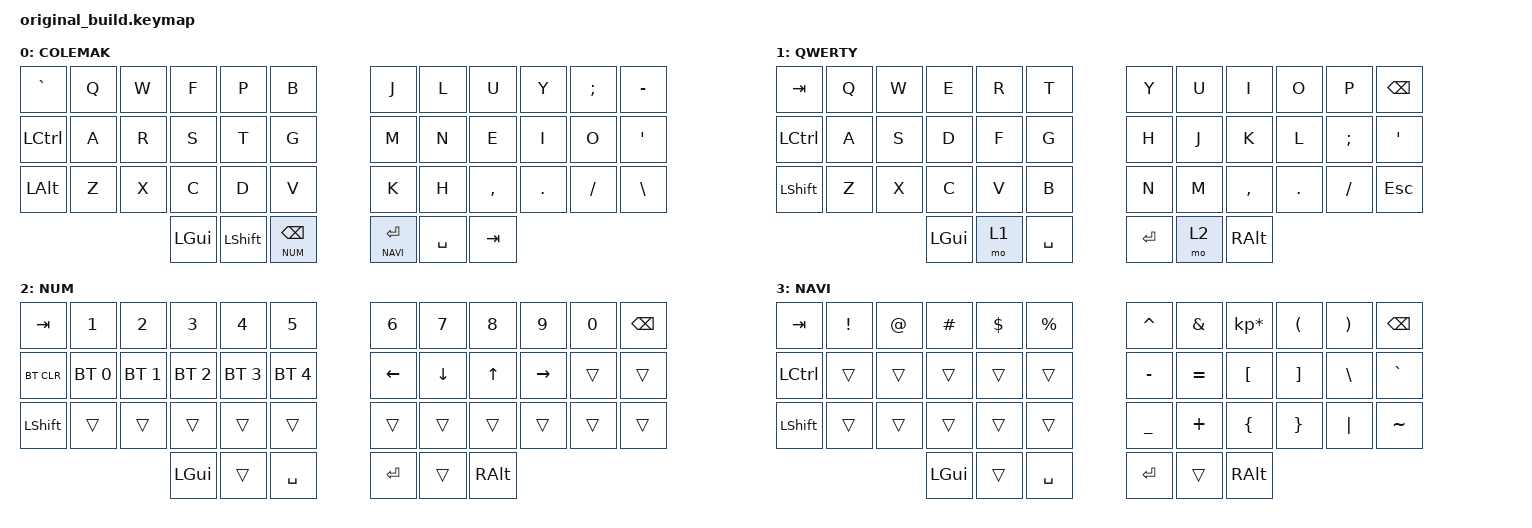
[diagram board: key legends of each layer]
/*
*
* Copyright (c) 2021 Darryl deHaan
* SPDX-License-Identifier: MIT
*
*/

#include <behaviors.dtsi>

#include <dt-bindings/zmk/keys.h>
#include <dt-bindings/zmk/bt.h>

#define COLEMAK 0
#define NUM 1
#define NAVI 2
#define QWERTY 3
#define MACRO 4



/ {
    conditional_layers {
        compatible = "zmk,conditional-layers";
        tri_layer {
            if-layers = <1 2>;
            then-layer = <4>;
        };
    };
        keymap {
                compatible = "zmk,keymap";

                default_layer {
                        label = "COLEMAK";
// -----------------------------------------------------------------------------------------
// |  `   |  Q  |  W  |  F  |  P  |  B  |   |  J  |  L  |  U  |  Y  |  ;  | - |
// | CTRL |  A  |  R  |  S  |  T  |  G  |   |  M  |  N  |  E  |  I  |  O  | ' |
// | SHFT |  Z  |  X  |  C  |  D  |  V  |   |  K  |  H  |  ,  |  .  |  /  | \ |
//                    | GUI | SHFT|BSPC|    | ENT | SPC | TAB |
                        bindings = <
   &kp GRAVE &kp Q &kp W &kp F &kp P &kp B             &kp J &kp L  &kp U     &kp Y   &kp SEMI &kp MINUS
   &kp LCTL  &kp A &kp R &kp S &kp T &kp G             &kp M &kp N  &kp E     &kp I   &kp O    &kp APOS
   &kp LALT  &kp Z &kp X &kp C &kp D &kp V             &kp K &kp H  &kp COMMA &kp DOT &kp FSLH &kp BSLH
                  &kp LGUI &kp LSHFT &lt NUM BSPC      &lt NAVI RET &kp SPC &kp TAB
                        >;
                };

                qwerty_layer {
                        label = "QWERTY";
// -----------------------------------------------------------------------------------------
// |  TAB |  Q  |  W  |  E  |  R  |  T  |   |  Y  |  U   |  I  |  O  |  P  | BKSP |
// | CTRL |  A  |  S  |  D  |  F  |  G  |   |  H  |  J   |  K  |  L  |  ;  |  '   |
// | SHFT |  Z  |  X  |  C  |  V  |  B  |   |  N  |  M   |  ,  |  .  |  /  | ESC  |
//                    | GUI | LWR | SPC |   | ENT | RSE  | ALT |
                        bindings = <
   &kp TAB   &kp Q &kp W &kp E &kp R &kp T   &kp Y &kp U  &kp I     &kp O   &kp P    &kp BSPC
   &kp LCTRL &kp A &kp S &kp D &kp F &kp G   &kp H &kp J  &kp K     &kp L   &kp SEMI &kp SQT
   &kp LSHFT &kp Z &kp X &kp C &kp V &kp B   &kp N &kp M  &kp COMMA &kp DOT &kp FSLH &kp ESC
                  &kp LGUI &mo 1 &kp SPACE   &kp RET &mo 2 &kp RALT
                        >;
                };

                num_layer {
                        label = "NUM";
// -----------------------------------------------------------------------------------------
// |  TAB |  1  |  2  |  3  |  4  |  5  |   |  6  |  7  |  8  |  9  |  0  | BKSP |
// | BTCLR| BT1 | BT2 | BT3 | BT4 | BT5 |   | LFT | DWN |  UP | RGT |     |      |
// | SHFT |     |     |     |     |     |   |     |     |     |     |     |      |
//                    | GUI |     | SPC |   | ENT |     | ALT |
                        bindings = <
   &kp TAB    &kp N1       &kp N2       &kp N3       &kp N4       &kp N5         &kp N6   &kp N7   &kp N8 &kp N9    &kp N0 &kp BSPC
   &bt BT_CLR &bt BT_SEL 0 &bt BT_SEL 1 &bt BT_SEL 2 &bt BT_SEL 3 &bt BT_SEL 4   &kp LEFT &kp DOWN &kp UP &kp RIGHT &trans &trans
   &kp LSHFT  &trans       &trans       &trans       &trans       &trans         &trans   &trans   &trans &trans    &trans &trans
                          	        &kp LGUI     &trans       &kp SPACE      &kp RET  &trans   &kp RALT
                        >;
                };

                NAVI_layer {
                        label = "NAVI";
// -----------------------------------------------------------------------------------------
// |  TAB |  !  |  @  |  #  |  $  |  %  |   |  ^  |  &  |  *  |  (  |  )  | BKSP |
// | CTRL |     |     |     |     |     |   |  -  |  =  |  [  |  ]  |  \  |  `   |
// | SHFT |     |     |     |     |     |   |  _  |  +  |  {  |  }  | "|" |  ~   |
//                    | GUI |     | SPC |   | ENT |     | ALT |
                        bindings = <
   &kp  TAB  &kp EXCL &kp AT &kp HASH &kp DLLR &kp PRCNT   &kp CARET &kp AMPS  &kp KP_MULTIPLY &kp LPAR &kp RPAR &kp BSPC
   &kp LCTRL &trans   &trans &trans   &trans   &trans      &kp MINUS &kp EQUAL &kp LBKT        &kp RBKT &kp BSLH &kp GRAVE
   &kp LSHFT &trans   &trans &trans   &trans   &trans      &kp UNDER &kp PLUS  &kp LBRC        &kp RBRC &kp PIPE &kp TILDE
                    	     &kp LGUI &trans   &kp SPACE   &kp RET   &trans    &kp RALT
                        >;
                };
        };
};
